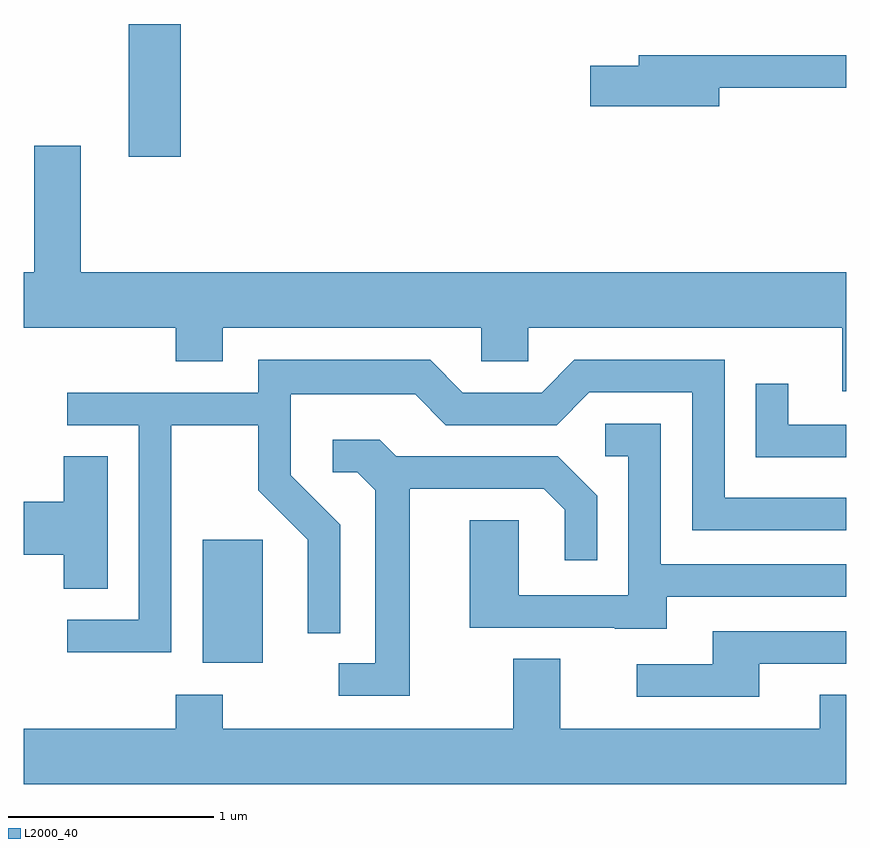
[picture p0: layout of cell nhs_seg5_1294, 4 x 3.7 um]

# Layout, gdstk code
import gdstk
lib = gdstk.Library(unit=1e-6, precision=1e-09)
def R(c, l, rs):  # rectangles x0, y0, x1, y1
    for r in rs: c.add(gdstk.rectangle(r[:2], r[2:], *l))
def P(c, l, *ps):  # polygons
    for p in ps: c.add(gdstk.Polygon(p, *l))
L2000_40 = (2000, 40)

nhs_seg5_1294 = lib.new_cell('nhs_seg5_1294')
R(nhs_seg5_1294, L2000_40, [(224.481,1432.966,224.774,1433.564), (224.121,1435.426,224.374,1436.072)])
P(nhs_seg5_1294, L2000_40, [(226.994,1435.761),(227.611,1435.761),(227.611,1435.919),(226.601,1435.919),(226.601,1435.869),(226.366,1435.869),(226.366,1435.671),(226.994,1435.671)],
  [(227.611,1434.864),(223.889,1434.864),(223.889,1435.479),(223.661,1435.479),(223.661,1434.864),(223.611,1434.864),(223.611,1434.596),(224.351,1434.596),(224.351,1434.431),(224.579,1434.431),(224.579,1434.596),(225.836,1434.596),(225.836,1434.431),(226.064,1434.431),(226.064,1434.596),(227.591,1434.596),(227.591,1434.286),(227.611,1434.286)],
  [(224.329,1434.121),(224.751,1434.121),(224.751,1433.804),(224.991,1433.564),(224.991,1433.108),(225.149,1433.108),(225.149,1433.637),(224.909,1433.877),(224.909,1434.271),(225.514,1434.271),(225.664,1434.121),(226.202,1434.121),(226.362,1434.281),(226.861,1434.281),(226.861,1433.611),(227.611,1433.611),(227.611,1433.769),(227.019,1433.769),(227.019,1434.439),(226.289,1434.439),(226.129,1434.279),(225.747,1434.279),(225.587,1434.439),(224.751,1434.439),(224.751,1434.279),(223.823,1434.279),(223.823,1434.121),(224.171,1434.121),(224.171,1433.174),(223.823,1433.174),(223.823,1433.016),(224.329,1433.016)],
  [(227.611,1434.124),(227.329,1434.124),(227.329,1434.323),(227.171,1434.323),(227.171,1433.966),(227.611,1433.966)],
  [(226.739,1433.286),(227.611,1433.286),(227.611,1433.444),(226.709,1433.444),(226.709,1434.129),(226.438,1434.129),(226.438,1433.971),(226.551,1433.971),(226.551,1433.294),(226.019,1433.294),(226.019,1433.659),(225.781,1433.659),(225.781,1433.136),(226.485,1433.136),(226.485,1433.131),(226.739,1433.131)],
  [(225.489,1433.811),(226.139,1433.811),(226.241,1433.709),(226.241,1433.463),(226.399,1433.463),(226.399,1433.777),(226.207,1433.969),(225.422,1433.969),(225.342,1434.049),(225.113,1434.049),(225.113,1433.891),(225.234,1433.891),(225.321,1433.804),(225.321,1432.964),(225.143,1432.964),(225.143,1432.806),(225.489,1432.806)],
  [(224.019,1433.969),(223.806,1433.969),(223.806,1433.749),(223.611,1433.749),(223.611,1433.491),(223.806,1433.491),(223.806,1433.326),(224.019,1433.326)],
  [(227.189,1432.961),(227.611,1432.961),(227.611,1433.119),(226.961,1433.119),(226.961,1432.959),(226.593,1432.959),(226.593,1432.801),(227.189,1432.801)],
  [(227.611,1432.809),(227.481,1432.809),(227.481,1432.644),(226.219,1432.644),(226.219,1432.984),(225.991,1432.984),(225.991,1432.644),(224.579,1432.644),(224.579,1432.809),(224.351,1432.809),(224.351,1432.644),(223.611,1432.644),(223.611,1432.376),(227.611,1432.376)])

lib.write_gds('nhs_seg5_1294.gds')
